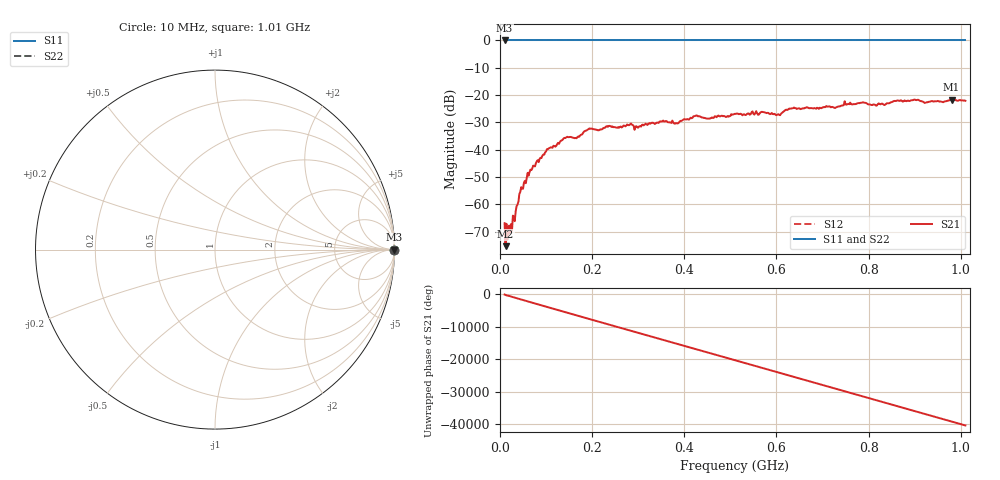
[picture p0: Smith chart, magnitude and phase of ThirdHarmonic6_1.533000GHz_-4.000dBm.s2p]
! 8/16/2025 6:08:50 PM
! C:\ANRITSUVNA\TEMP\TEMP.S2P
! CHANNEL.1
! TR.MEASUREMENT
! RAW.DATA
! RF.CORRECTION.OFF
! AVERAGING.OFF
! IF.BANDWIDTH: 5KHZ
! SWEEPTYPE:  FREQ.SWEEP(Linear)
! Reference Plane Port Info
! PORT:  PORT1  PORT2
! DISTANCE:  0  m  0  m
! TIME:  0  s  0  s
! PHASE.OFFSET:  0  deg.  0  deg.
! LOSS:  0  dB  0  dB
! REF.LOSS:  0  dB  0  dB
! REF.FREQ:  0  Hz  0  Hz
! Power Info
! POWER:  -20  dBm  -20  dBm
! EFF.POWER:  -20  dBm  -20  dBm
! SOURCE.ATTEN:  0  dB  0  dB
! TEST.ATTEN:  0  dB  0  dB
# GHZ S RI R 50.0
! FREQ.GHZ  S11RE  S11IM  S21RE  S21IM  S12RE  S12IM  S22RE  S22IM
!; PortSelection: Port_12
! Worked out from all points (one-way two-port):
!   501 points, 10 MHz to 1.01 GHz, reference 50 ohm
!   highest |S21| = -21.63 dB at 980 MHz (marker M1); lowest = -75.3 dB at 12 MHz (marker M2)
!   lowest |S11| = 0.0 dB at 10 MHz (marker M3)
!   |S11| at or under -10 dB: nowhere
!   |S22| runs from 0.0 to 0.0 dB; largest |S21 - S12| = 1.1
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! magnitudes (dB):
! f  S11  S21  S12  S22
! 10 MHz  0.0  -66.9  0.0  0.0
! 12 MHz  0.0  -75.3  0.0  0.0
! 22 MHz  0.0  -70.8  0.0  0.0
! 30 MHz  0.0  -64.6  0.0  0.0
! 46 MHz  0.0  -53.7  0.0  0.0
! 76 MHz  0.0  -46.1  0.0  0.0
! 106 MHz  0.0  -39.5  0.0  0.0
! 142 MHz  0.0  -35.7  0.0  0.0
! 178 MHz  0.0  -34.5  0.0  0.0
! 196 MHz  0.0  -32.3  0.0  0.0
! 280 MHz  0.0  -31.1  0.0  0.0
! 296 MHz  0.0  -31.4  0.0  0.0
! 344 MHz  0.0  -30.2  0.0  0.0
! 382 MHz  0.0  -30.2  0.0  0.0
! 424 MHz  0.0  -27.6  0.0  0.0
! 510 MHz  0.0  -26.9  0.0  0.0
! 604 MHz  0.0  -27.0  0.0  0.0
! 634 MHz  0.0  -24.9  0.0  0.0
! 678 MHz  0.0  -24.9  0.0  0.0
! 844 MHz  0.0  -23.0  0.0  0.0
! 980 MHz  0.0  -21.6  0.0  0.0
! 1.01 GHz  0.0  -22.1  0.0  0.0
